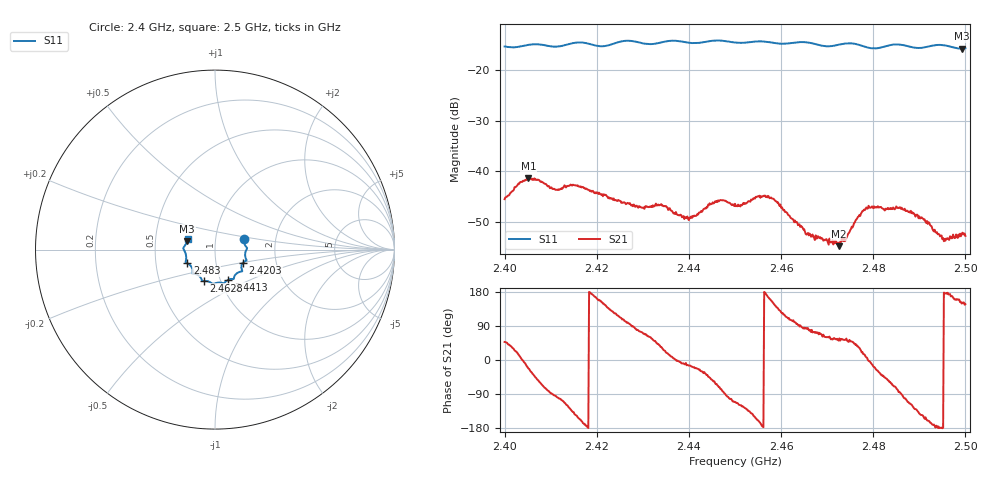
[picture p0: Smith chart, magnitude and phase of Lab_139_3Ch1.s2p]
# Hz S RI R 50
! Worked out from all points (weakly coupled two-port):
!   601 points, 2.4 GHz to 2.5 GHz, reference 50 ohm
!   highest |S21| = -41.32 dB at 2.4052 GHz (marker M1); lowest = -54.7 dB at 2.4725 GHz (marker M2)
!   lowest |S11| = -15.8 dB at 2.4992 GHz (marker M3), VSWR 1.39, Z = 36.4 + j3.55 ohm
!   |S11| at or under -10 dB: start of sweep to end of sweep
!   S12 and S22 are empty: the file has one direction only
!   S11 on the Smith chart (normalised r, x): 2.4 GHz: 1.37, +0.16; 2.4203 GHz: 1.35, -0.21; 2.4413 GHz: 1.09, -0.38; 2.4628 GHz: 0.83, -0.30; 2.483 GHz: 0.72, -0.11; 2.5 GHz: 0.73, +0.09
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2.4e9  0.1604 0.0567  0.00359 0.00394  0 0  0 0
2.405167e9  0.1763 0.0126  0.00794 -0.00326  0 0  0 0
2.411e9  0.1682 -0.0209  -0.000504 -0.00658  0 0  0 0
2.416667e9  0.176 -0.0613  -0.00657 -0.00229  0 0  0 0
2.420333e9  0.1554 -0.0737  -0.00554 0.00228  0 0  0 0
2.429833e9  0.1341 -0.1251  0.00128 0.00419  0 0  0 0
2.433333e9  0.108 -0.1485  0.00349 0.00318  0 0  0 0
2.4395e9  0.0901 -0.1635  0.00337 -0.000824  0 0  0 0
2.441333e9  0.0742 -0.168  0.00339 -0.00135  0 0  0 0
2.4465e9  0.0488 -0.1886  0.00159 -0.00482  0 0  0 0
2.45e9  0.0295 -0.1839  -0.00168 -0.00449  0 0  0 0
2.456833e9  -0.016 -0.1887  -0.00562 0.000805  0 0  0 0
2.462833e9  -0.0629 -0.1747  -0.000562 0.00311  0 0  0 0
2.466667e9  -0.0744 -0.1675  0.000419 0.00228  0 0  0 0
2.4725e9  -0.1149 -0.1347  0.00115 0.00143  0 0  0 0
2.4785e9  -0.1253 -0.1113  0.00438 0.000544  0 0  0 0
2.483e9  -0.1549 -0.0765  0.00272 -0.00329  0 0  0 0
2.483333e9  -0.157 -0.0756  0.00249 -0.00343  0 0  0 0
2.4885e9  -0.1604 -0.047  -0.00204 -0.00339  0 0  0 0
2.4955e9  -0.1741 0.0134  -0.00215 0.000136  0 0  0 0
2.499167e9  -0.1549 0.0474  -0.00205 0.00122  0 0  0 0
2.5e9  -0.1526 0.0585  -0.00195 0.00125  0 0  0 0
